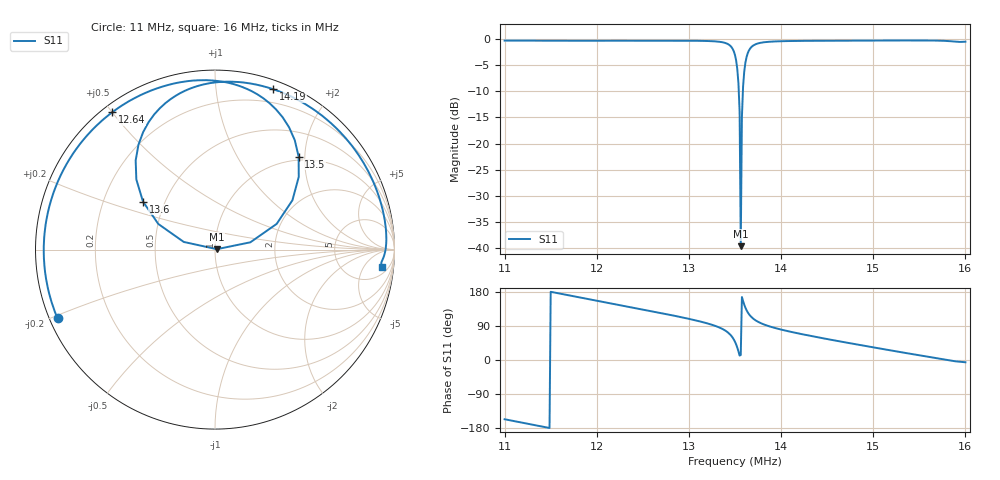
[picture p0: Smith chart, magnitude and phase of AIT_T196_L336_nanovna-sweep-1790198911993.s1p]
! NanoVNA Web complex sweep
! Processing: original sample grid, no browser smoothing
# Hz S RI R 50
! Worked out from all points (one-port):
!   401 points, 11 MHz to 16 MHz, reference 50 ohm
!   lowest |S11| = -39.6 dB at 13.56 MHz (marker M1), VSWR 1.02, Z = 51 + j0.244 ohm
!   |S11| at or under -10 dB: 13.54082 MHz to 13.58576 MHz (44.94 kHz wide, 0.331 % of centre)
!   S11 on the Smith chart (normalised r, x): 11 MHz: 0.02, -0.21; 12.64 MHz: 0.03, +0.50; 13.5 MHz: 0.93, +1.87; 13.6 MHz: 0.38, +0.26; 14.19 MHz: 0.08, +1.42; 16 MHz: 9, -13
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1.1e7  -0.8771 -0.3838
1.1325e7  -0.945 -0.1366
1.1625e7  -0.9488 0.098
1.225e7  -0.7817 0.5482
1.26375e7  -0.5719 0.7658
1.2875e7  -0.4056 0.8651
1.31625e7  -0.1502 0.9388
1.335e7  0.1034 0.9221
1.34375e7  0.3034 0.8162
1.3475e7  0.4124 0.6819
1.35e7  0.4659 0.5183
1.3525e7  0.4315 0.2752
1.35375e7  0.3438 0.1434
1.355e7  0.1971 0.0407
1.35625e7  0.0102 0.00239
1.3575e7  -0.1741 0.0427
1.35875e7  -0.3159 0.1428
1.36e7  -0.4013 0.2679
1.3625e7  -0.442 0.4971
1.36625e7  -0.3701 0.7098
1.37375e7  -0.1933 0.872
1.38875e7  0.0374 0.9346
1.4125e7  0.2721 0.9092
1.41875e7  0.3232 0.8938
1.475e7  0.6862 0.6663
1.5375e7  0.9151 0.2897
1.58375e7  0.9442 -0.027
1.6e7  0.9296 -0.0981
